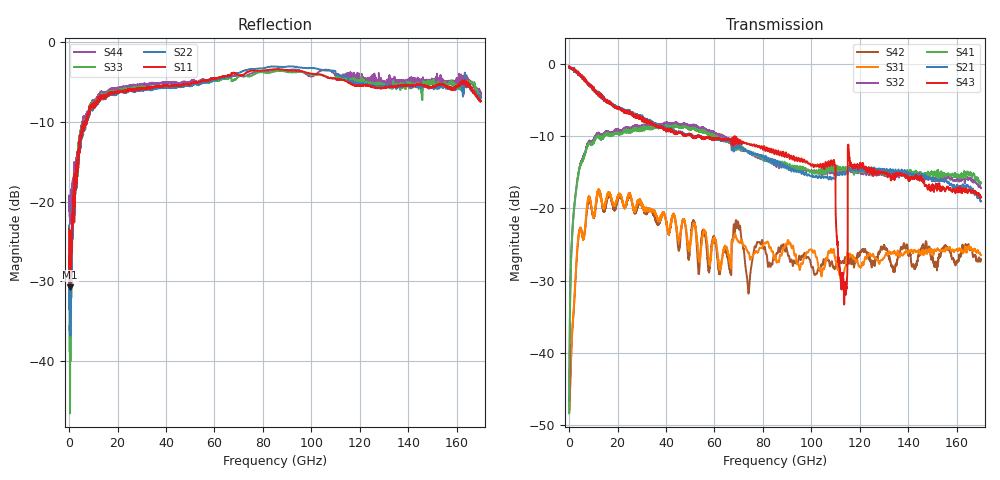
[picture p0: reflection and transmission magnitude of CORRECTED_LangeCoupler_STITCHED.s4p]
! Generated by Phase II Calibration
# Hz S RI R 50
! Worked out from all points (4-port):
!   4072 points, 10 MHz to 170 GHz, reference 50 ohm
!   strongest paths, dB at 10 MHz, 42.63 GHz, 87.93 GHz, 128.5 GHz, 170 GHz:
!     S43: -0.3, -9.3, -12.8, -15.1, -18.5
!     S21: -0.6, -9.1, -14.0, -14.9, -19.1
!     S41: -48.4, -8.8, -13.6, -15.2, -16.5
!     S32: -48.0, -8.5, -14.3, -15.3, -17.2
!     S31: -48.2, -21.0, -26.3, -27.3, -26.5
!     S42: -48.3, -21.1, -25.4, -25.9, -27.1
!   lowest |S11| = -30.7 dB at 428.7 MHz (marker M1), VSWR 1.06, Z = 47.2 - j0.632 ohm
!   |S11| at or under -10 dB: start of sweep to 6.205 GHz; 6.208 GHz to 6.876 GHz (668.1 MHz wide, 10.2 % of centre); 6.877 GHz to 6.978 GHz (101.2 MHz wide, 1.46 % of centre)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
1e7  -0.0318 0.0594  0.9354 0.00515  -0.00391 0.000237  0.00382 0.000415
     0.9362 0.00518  -0.0415 0.0575  0.00387 0.00035  -0.00383 0.000225
     -0.00389 0.000269  0.00396 0.000419  0.0186 0.052  0.9597 0.00674
     0.0038 0.00039  -0.00385 0.000208  0.9605 0.00491  -0.0804 0.0615
4.286875e8  -0.0283 -0.00668  0.9339 -0.0698  -0.00425 0.00436  0.0059 0.0229
            0.9341 -0.0701  -0.0206 -0.00265  0.00615 0.0233  -0.00415 0.00431
            -0.00426 0.00436  0.00613 0.0233  0.000824 0.0128  0.9368 -0.0619
            0.00591 0.023  -0.00417 0.0043  0.9369 -0.0589  -0.0895 -0.00153
1.211007e10  -0.3141 -0.2726  0.2937 -0.5439  0.1307 -0.0327  0.3136 0.0611
             0.3182 -0.5577  -0.318 -0.299  0.3197 0.0567  0.1221 -0.0288
             0.1279 -0.0319  0.3191 0.07  -0.3245 -0.2821  0.2988 -0.5388
             0.3121 0.0596  0.1246 -0.0293  0.3105 -0.5298  -0.3659 -0.2695
1.09e11  -0.5713 -0.15  0.0775 0.1385  -0.051 0.00829  -0.1446 -0.1325
         0.0851 0.1384  -0.6439 -0.1322  -0.1236 -0.1211  -0.0373 0.00575
         -0.0512 0.00502  -0.13 -0.1222  -0.5507 -0.2007  0.1182 0.1702
         -0.1417 -0.1147  -0.0388 0.00405  0.097 0.1828  -0.5754 -0.2838
1.139184e11  -0.5455 -0.1609  0.1107 0.1337  -0.0372 -0.00285  -0.1466 -0.1118
             0.1134 0.1271  -0.5833 -0.1548  -0.138 -0.12  -0.0445 0.0077
             -0.039 -0.00159  -0.1354 -0.1175  -0.5581 -0.1645  0.00534 0.00663
             -0.1494 -0.1181  -0.0451 0.00801  0.0179 -0.0247  -0.588 -0.1893
1.166939e11  -0.5071 -0.1905  0.1346 0.1279  -0.046 0.00824  -0.1515 -0.1133
             0.1377 0.129  -0.5304 -0.1895  -0.1305 -0.1221  -0.0415 0.00679
             -0.0465 0.00662  -0.1303 -0.125  -0.5598 -0.1402  -0.1553 -0.0902
             -0.1385 -0.1169  -0.0407 0.00448  -0.0933 -0.1723  -0.5355 -0.1659
1.7e11  -0.3326 -0.2695  0.0378 -0.1048  0.0248 0.0404  -0.1433 -0.0436
        0.0367 -0.1053  -0.3744 -0.2522  -0.1268 -0.0507  0.0224 0.038
        0.023 0.0415  -0.1245 -0.0579  -0.4074 -0.1932  0.0845 0.081
        -0.1442 -0.042  0.0224 0.0383  -0.1192 0.00636  -0.357 -0.2999
